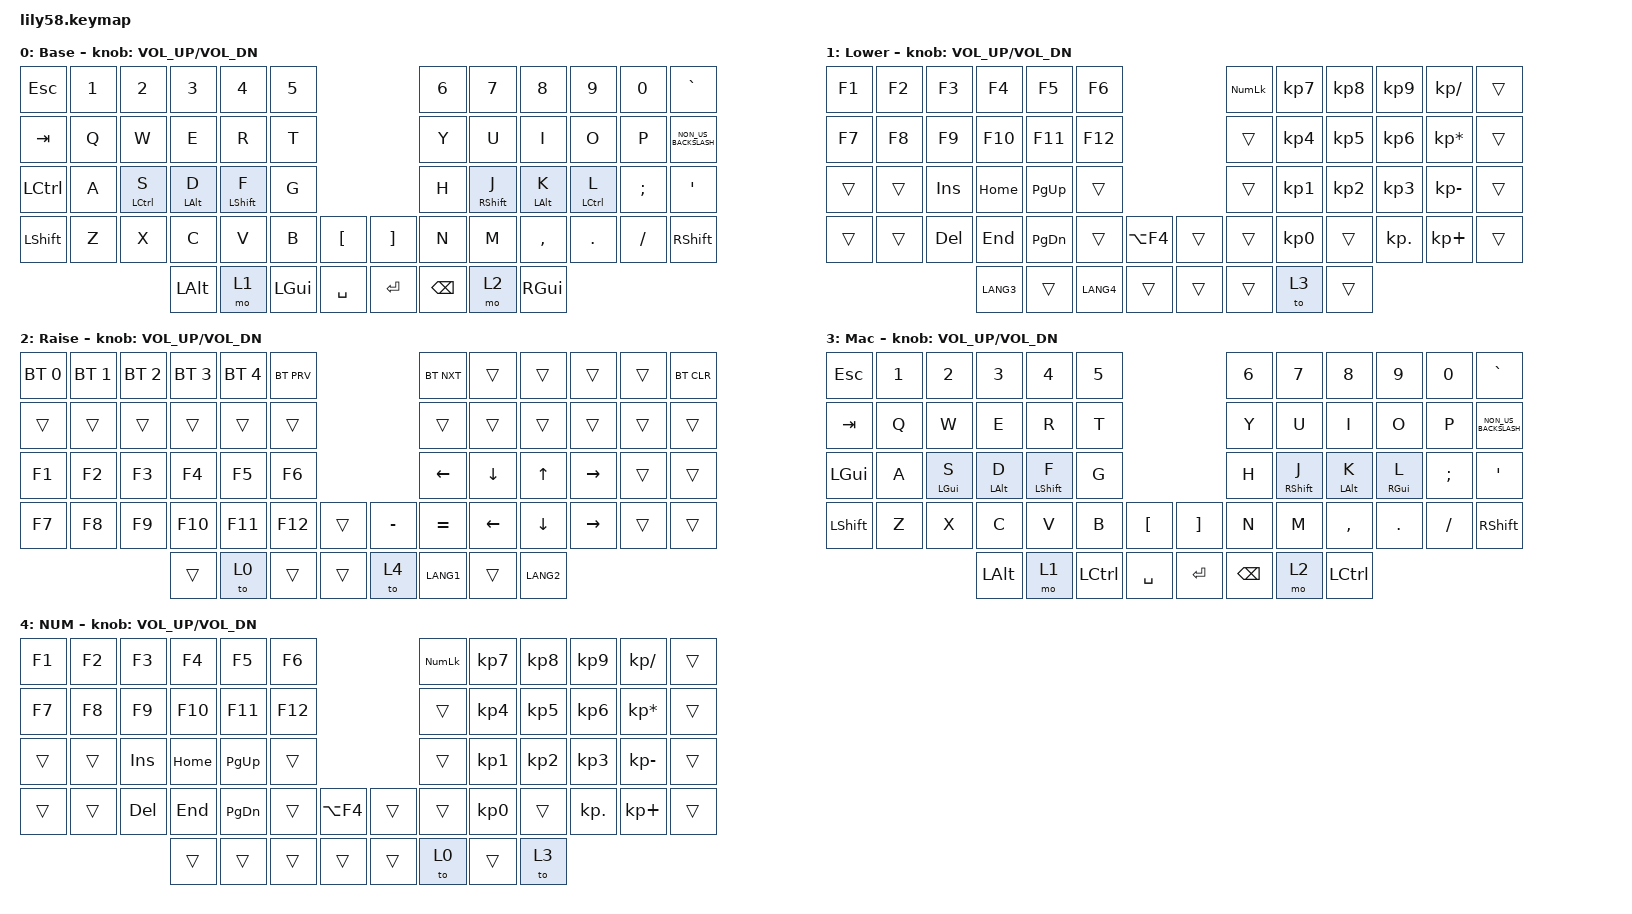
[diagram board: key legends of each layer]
/*
 * Copyright (c) 2020 The ZMK Contributors
 *
 * SPDX-License-Identifier: MIT
 */

#include <behaviors.dtsi>
#include <dt-bindings/zmk/bt.h>
#include <dt-bindings/zmk/keys.h>

/ {
    behaviors {
        hml: hml {
            compatible = "zmk,behavior-hold-tap";
            label = "HML";
            bindings = <&kp>, <&kp>;

            #binding-cells = <2>;
            tapping-term-ms = <200>;
            quick-tap-ms = <175>;
            require-prior-idle-ms = <150>;
            flavor = "balanced";
            hold-trigger-key-positions = <6 8 7 9 11 10 18 19 20 21 22 23 35 34 33 32 31 30 43 44 45 46 47 48 49 57 55 56 54>;
            hold-trigger-on-release;
        };

        hmr: hmr {
            compatible = "zmk,behavior-hold-tap";
            label = "HMR";
            bindings = <&kp>, <&kp>;

            #binding-cells = <2>;
            tapping-term-ms = <200>;
            quick-tap-ms = <175>;
            require-prior-idle-ms = <150>;
            flavor = "balanced";
            hold-trigger-on-release;
            hold-trigger-key-positions = <0 1 2 3 4 5 12 13 14 15 16 17 24 25 26 27 28 29 36 37 38 39 40 41 42 50 51 52 53>;
        };
    };

    keymap {
        compatible = "zmk,keymap";

        default_layer {
            // ------------------------------------------------------------------------------------------------------------
            // |  ESC  |  1  |  2  |  3   |  4   |  5   |                   |  6   |  7    |  8    |  9   |   0   |   `   |
            // |  TAB  |  Q  |  W  |  E   |  R   |  T   |                   |  Y   |  U    |  I    |  O   |   P   |   -   |
            // |  CTRL |  A  |  S  |  D   |  F   |  G   |                   |  H   |  J    |  K    |  L   |   ;   |   '   |
            // | SHIFT |  Z  |  X  |  C   |  V   |  B   |   "["  |  |  "]"  |  N   |  M    |  ,    |  .   |   /   | SHIFT |
            //                     | ALT  | GUI  | LOWER|  SPACE |  | ENTER | RAISE| BSPC  | GUI   |

            display-name = "Base";
            bindings = <
&kp ESC    &kp N1  &kp N2        &kp N3           &kp N4             &kp N5                               &kp N6         &kp N7              &kp N8           &kp N9        &kp N0    &kp GRAVE
&kp TAB    &kp Q   &kp W         &kp E            &kp R              &kp T                                &kp Y          &kp U               &kp I            &kp O         &kp P     &kp NON_US_BACKSLASH
&kp LCTRL  &kp A   &hml LCTRL S  &hml LEFT_ALT D  &hml LEFT_SHIFT F  &kp G                                &kp H          &hmr RIGHT_SHIFT J  &hmr LEFT_ALT K  &hmr LCTRL L  &kp SEMI  &kp SQT
&kp LSHFT  &kp Z   &kp X         &kp C            &kp V              &kp B         &kp LBKT     &kp RBKT  &kp N          &kp M               &kp COMMA        &kp DOT       &kp FSLH  &kp RSHFT
                                 &kp LALT         &mo 1              &kp LEFT_GUI  &kp SPACE    &kp RET   &kp BACKSPACE  &mo 2               &kp RGUI
            >;

            sensor-bindings = <&inc_dec_kp C_VOL_UP C_VOL_DN>;
        };

        lower_layer {
            // ------------------------------------------------------------------------------------------------------------
            // | BTCLR | BT1 | BT2 |  BT3 |  BT4 |  BT5 |                   |      |       |       |      |       |       |
            // |  F1   |  F2 |  F3 |  F4  |  F5  |  F6  |                   |  F7  |  F8   |  F9   |  F10 |  F11  |  F12  |
            // |   `   |  !  |  @  |  #   |  $   |  %   |                   |  ^   |  &    |  *    |  (   |   )   |   ~   |
            // |       |     |     |      |      |      |        |  |       |      |  _    |  +    |  {   |   }   |  "|"  |
            //                     |      |      |      |        |  |       |      |       |       |

            display-name = "Lower";
            bindings = <
&kp F1  &kp F2  &kp F3      &kp F4     &kp F5         &kp F6                           &kp KP_NUM  &kp KP_N7  &kp KP_N8  &kp KP_N9   &kp KP_DIVIDE    &trans
&kp F7  &kp F8  &kp F9      &kp F10    &kp F11        &kp F12                          &trans      &kp KP_N4  &kp KP_N5  &kp KP_N6   &kp KP_MULTIPLY  &trans
&trans  &trans  &kp INS     &kp HOME   &kp PAGE_UP    &trans                           &trans      &kp KP_N1  &kp KP_N2  &kp KP_N3   &kp KP_MINUS     &trans
&trans  &trans  &kp DELETE  &kp END    &kp PAGE_DOWN  &trans     &kp LA(F4)    &trans  &trans      &kp KP_N0  &trans     &kp KP_DOT  &kp KP_PLUS      &trans
                            &kp LANG3  &trans         &kp LANG4  &trans        &trans  &trans      &to 3      &trans
            >;

            sensor-bindings = <&inc_dec_kp C_VOL_UP C_VOL_DN>;
        };

        raise_layer {
            // ------------------------------------------------------------------------------------------------------------
            // |       |     |     |      |      |      |                   |      |       |       |      |       |       |
            // |   `   |  1  |  2  |  3   |  4   |  5   |                   |  6   |   7   |   8   |  9   |   0   |       |
            // |   F1  |  F2 |  F3 |  F4  |  F5  |  F6  |                   |      |   <-  |   v   |  ^   |  ->   |       |
            // |   F7  |  F8 |  F9 |  F10 |  F11 |  F12 |        |  |       |  +   |   -   |   =   |  [   |   ]   |   \   |
            //                     |      |      |      |        |  |       |      |       |       |

            display-name = "Raise";
            bindings = <
&bt BT_SEL 0  &bt BT_SEL 1  &bt BT_SEL 2  &bt BT_SEL 3  &bt BT_SEL 4  &bt BT_PRV                       &bt BT_NXT  &trans          &trans          &trans           &trans  &bt BT_CLR
&trans        &trans        &trans        &trans        &trans        &trans                           &trans      &trans          &trans          &trans           &trans  &trans
&kp F1        &kp F2        &kp F3        &kp F4        &kp F5        &kp F6                           &kp LEFT    &kp DOWN        &kp UP          &kp RIGHT        &trans  &trans
&kp F7        &kp F8        &kp F9        &kp F10       &kp F11       &kp F12     &trans    &kp MINUS  &kp EQUAL   &kp LEFT_ARROW  &kp DOWN_ARROW  &kp RIGHT_ARROW  &trans  &trans
                                          &trans        &to 0         &trans      &trans    &to 4      &kp LANG1   &trans          &kp LANG2
            >;

            sensor-bindings = <&inc_dec_kp C_VOL_UP C_VOL_DN>;
        };

        mac {
            display-name = "Mac";
            bindings = <
&kp ESC       &kp N1  &kp N2           &kp N3           &kp N4             &kp N5                            &kp N6         &kp N7              &kp N8           &kp N9            &kp N0    &kp GRAVE
&kp TAB       &kp Q   &kp W            &kp E            &kp R              &kp T                             &kp Y          &kp U               &kp I            &kp O             &kp P     &kp NON_US_BACKSLASH
&kp LEFT_GUI  &kp A   &hml LEFT_GUI S  &hml LEFT_ALT D  &hml LEFT_SHIFT F  &kp G                             &kp H          &hmr RIGHT_SHIFT J  &hmr LEFT_ALT K  &hmr RIGHT_GUI L  &kp SEMI  &kp SQT
&kp LSHFT     &kp Z   &kp X            &kp C            &kp V              &kp B      &kp LBKT     &kp RBKT  &kp N          &kp M               &kp COMMA        &kp DOT           &kp FSLH  &kp RSHFT
                                       &kp LALT         &mo 1              &kp LCTRL  &kp SPACE    &kp RET   &kp BACKSPACE  &mo 2               &kp LCTRL
            >;

            sensor-bindings = <&inc_dec_kp C_VOL_UP C_VOL_DN>;
        };

        number {
            display-name = "NUM";
            bindings = <
&kp F1  &kp F2  &kp F3      &kp F4    &kp F5         &kp F6                         &kp KP_NUM  &kp KP_N7  &kp KP_N8  &kp KP_N9   &kp KP_DIVIDE    &trans
&kp F7  &kp F8  &kp F9      &kp F10   &kp F11        &kp F12                        &trans      &kp KP_N4  &kp KP_N5  &kp KP_N6   &kp KP_MULTIPLY  &trans
&trans  &trans  &kp INS     &kp HOME  &kp PAGE_UP    &trans                         &trans      &kp KP_N1  &kp KP_N2  &kp KP_N3   &kp KP_MINUS     &trans
&trans  &trans  &kp DELETE  &kp END   &kp PAGE_DOWN  &trans   &kp LA(F4)    &trans  &trans      &kp KP_N0  &trans     &kp KP_DOT  &kp KP_PLUS      &trans
                            &trans    &trans         &trans   &trans        &trans  &to 0       &trans     &to 3
            >;

            sensor-bindings = <&inc_dec_kp C_VOL_UP C_VOL_DN>;
        };
    };
};
